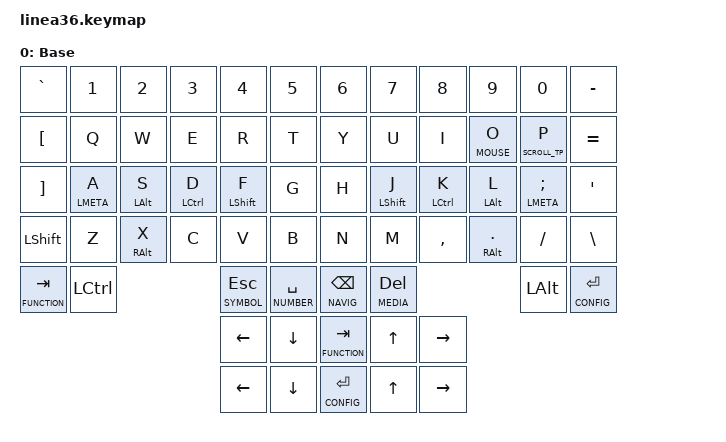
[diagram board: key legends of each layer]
/*
 * Copyright (c) 2020 The ZMK Contributors
 *
 * SPDX-License-Identifier: MIT
 */

#include <behaviors.dtsi>
#include <dt-bindings/zmk/keys.h>
#include <dt-bindings/zmk/bt.h>
#include <dt-bindings/zmk/ext_power.h>


/*
 * Defines to enable/disable features
 *
 * These defines allow us to conditionally enable and disable parts of the keymap config.
 *
 * For example, if we decide to build the firmware without the mouse features, we can
 * disable all the config options that rely on those forks and modules without having
 * to edit the entire keymap file manually every time.
 */

#define HAS_MOUSE_KEYS
#define HAS_MOUSE_TP

#define BASE      0
#define NAVIG     1
#define NUMBER    2
#define SYMBOL    3
#define MEDIA     4
#define FUNCTION  5
#define CONFIG    6
#define MOUSE_TP  7
#define SCROLL_TP 8
#define MOUSE     9


//#ifdef HAS_MOUSE_KEYS
  #include <dt-bindings/zmk/mouse.h>
  #include <behaviors/mouse_keys.dtsi>
//#endif  // HAS_MOUSE_KEYS

//#ifdef HAS_MOUSE_TP
  // We store the trackpoint settings in a separate file
  // to make organization a little easier.
  #include "include/mouse_tp.dtsi"
//#endif  // HAS_MOUSE_TP
                                    // key-position labels
#include "zmk-helpers/helper.h"


// Adjust layer keys based on enabled features.
//
// This prevents build errors when we build the firmware
// without the mouse keys PR or the TP module.
#ifdef HAS_MOUSE_KEYS
  #define U_THUMB_INNER &mo MOUSE_KEYS
#else
  #define U_THUMB_INNER &none
#endif  // HAS_MOUSE_KEYS

#ifdef HAS_MOUSE_TP
  #define U_TOG_TP_SET &tog MOUSE_TP_SET
#else
  #define U_TOG_TP_SET &none
#endif  // HAS_MOUSE_TP

// Disable line-wrap in your editor to see a "visualization" of the key layouts
/ {

  
  behaviors {
       /* left-hand HRMs */
        hml: homerow_mods_left {
            compatible = "zmk,behavior-hold-tap";
            flavor = "balanced";
            tapping-term-ms = <280>;
            quick-tap-ms = <175>;                // repeat on tap-into-hold
            require-prior-idle-ms = <150>;
            #binding-cells = <2>;
            bindings = <&kp>, <&kp>;
            //hold-trigger-key-positions = = <KEYS_R THUMBS>;
            hold-trigger-on-release;             // delay positional check until key-release
        };

        /* right-hand HRMs */
        hmr: homerow_mods_right {
            compatible = "zmk,behavior-hold-tap";
            flavor = "balanced";
            tapping-term-ms = <280>;
            quick-tap-ms = <175>;                // repeat on tap-into-hold
            require-prior-idle-ms = <150>;
            #binding-cells = <2>;
            bindings = <&kp>, <&kp>;
            //hold-trigger-key-positions = <KEYS_L THUMBS>;
            hold-trigger-on-release;             // delay positional check until key-release
        };
        tl: thumb_layer {
            compatible = "zmk,behavior-hold-tap";
             flavor = "balanced";
            tapping-term-ms = <280>;
            quick-tap-ms = <175>;                // repeat on tap-into-hold
            require-prior-idle-ms = <150>;
            #binding-cells = <2>;
            bindings = <&mo>, <&kp>;
            hold-trigger-on-release;             // delay positional check until key-release
        };       
  };
  
  keymap {
    compatible = "zmk,keymap";
   
    Base_layer {
      display-name = "Base";
      bindings = <
//|-----------------|-------------|-----------|------------|---------------|---------------|   |---------------|-------------|------------|--------------|---------------|------------|
   &kp GRAVE         &kp N1        &kp N2      &kp N3       &kp N4          &kp N5              &kp N6          &kp N7        &kp N8       &kp N9         &kp N0          &kp MINUS
   &kp LBKT          &kp Q         &kp W       &kp E        &kp R           &kp T               &kp Y           &kp U         &kp I        &tl MOUSE O    &tl SCROLL_TP P &kp EQUAL
   &kp RBKT          &hml LMETA A  &hml LALT S &hml LCTRL D &hml LSHIFT F   &kp G               &kp H           &hml LSHIFT J &hmr LCTRL K &hmr LALT L    &hmr LMETA SEMI &kp SQT
   &kp LSHFT         &kp Z         &hml RALT X &kp C        &kp V           &kp B               &kp N           &kp M         &kp COMMA    &hmr RALT DOT  &kp FSLH        &kp BSLH
   &tl FUNCTION TAB  &kp LCTRL                              &tl SYMBOL ESC  &tl NUMBER SPACE    &tl NAVIG BSPC  &tl MEDIA DEL                             &kp LALT        &tl CONFIG RET
                                             // DPAD  Left,     Down,     Middle,            Up,      Right
                                                      &kp LEFT  &kp DOWN  &tl FUNCTION TAB   &kp UP   &kp RIGHT
                                                      &kp LEFT  &kp DOWN  &tl CONFIG RET     &kp UP   &kp RIGHT
      >;
    };

/*
    Nav_layer {
      display-name = "Nav";
         bindings = <
//|------------|-------------|-----------|-----------|---------------|---------------|   |---------------|-------------|-----------|-------------|---------------|------------|
   &trans       &trans        &trans      &trans      &trans          &trans              &trans          &trans        &trans      &trans        &trans          &trans
   &trans       &kp HOME      &kp PG_UP   &kp PG_DN   &kp END         &trans              &trans          &trans        &trans      &trans        &trans          &trans
   &trans       &kp LEFT      &kp DOWN    &kp UP      &kp RIGHT       &caps_word          &trans          &kp LSHIFT    &kp LCTRL   &kp LALT      &kp LMETA       &trans
   &trans       &trans        &trans      &trans      &trans          &trans              &trans          &trans        &trans      &kp RALT      &trans          &trans
   &trans       &trans                                &trans          &trans              &trans          &trans                                  &trans          &trans 
                                        // DPAD Left,      Down,   Middle,     Up,     Right
                                                &trans     &trans  &trans      &trans  &trans  
                                                &trans     &trans  &trans      &trans  &trans 
      >;
    };

    Num_layer {
      display-name = "Number";
        bindings = <
//|------------|-------------|-----------|-----------|---------------|---------------|   |---------------|-------------|-------------|-------------|---------------|------------|
   &kp F12      &kp F1        &kp F2      &kp F3      &kp F4          &kp F5              &kp F6          &kp F7        &kp F8        &kp F9        &kp F10         &kp F11         
   &trans       &trans        &trans      &trans      &trans          &trans              &kp GRAVE       &kp NUMBER_7  &kp NUMBER_8  &kp NUMBER_9  &kp EQUAL       &trans
   &trans       &kp LMETA     &kp LALT    &kp LCTRL   &kp LSHIFT      &trans              &kp LBKT        &kp NUMBER_4  &kp NUMBER_5  &kp NUMBER_6  &kp SQT         &trans
   &trans       &trans        &kp RALT    &trans      &trans          &trans              &kp RBKT        &kp NUMBER_1  &kp NUMBER_2  &kp NUMBER_3  &kp BSLH        &trans
   &trans       &trans                                &trans          &trans              &kp NUMBER_0    &kp MINUS                                 &trans          &trans 
                                        // DPAD Left,      Down,   Middle,     Up,     Right
                                                &trans     &trans  &trans      &trans  &trans  
                                                &trans     &trans  &trans      &trans  &trans 
      >;
    };

   
    Symb_layer {
      display-name = "Symbol";
          bindings = <
//|------------|-------------|-----------|-----------|---------------|---------------|   |---------------|-------------|-----------|-------------|---------------|------------|
   &kp F12      &kp F1        &kp F2      &kp F3      &kp F4          &kp F5              &kp F6          &kp F7        &kp F8        &kp F9        &kp F10         &kp F11
   &trans       &trans        &trans      &trans      &trans          &trans              &kp TILDE       &kp AMPERSAND &kp STAR      &kp LPAR      &kp PLUS        &trans
   &trans       &kp LMETA     &kp LALT    &kp LCTRL   &kp LSHIFT      &trans              &kp LBRC        &kp DOLLAR    &kp PERCENT   &kp CARET     &kp DQT         &trans
   &trans       &trans        &kp RALT    &trans      &trans          &trans              &kp RBRC        &kp EXCL      &kp AT        &kp HASH      &kp PIPE        &trans
   &trans       &trans                                &trans          &trans              &kp RPAR        &kp UNDER                                 &trans          &trans 
                                        // DPAD Left,      Down,   Middle,     Up,     Right
                                                &trans     &trans  &trans      &trans  &trans  
                                                &trans     &trans  &trans      &trans  &trans
      >;
    };

  Media_layer {
      display-name = "Media";
         bindings = <
//|--------------|-------------|-------------|-------------|---------------|---------------|   |---------------|-------------|-----------|-------------|---------------|------------|
   &studio_unlock &trans        &trans        &trans        &trans          &trans              &trans          &trans        &trans      &trans        &trans          &trans
   &trans         &kp C_BRI_DEC &kp C_VOL_DN  &kp C_VOL_UP  &kp C_BRI_INC   &trans              &trans          &trans        &trans      &trans        &trans          &trans
   &trans         &trans        &trans        &trans        &trans          &trans              &trans          &trans        &trans      &trans        &trans          &trans
   &trans         &trans        &trans        &trans        &trans          &trans              &trans          &trans        &trans      &trans        &trans          &trans
   &trans         &trans                                    &trans          &trans              &trans          &trans                                  &trans          &trans 
                                        // DPAD Left,      Down,   Middle,     Up,     Right
                                                &trans     &trans  &trans      &trans  &trans  
                                                &trans     &trans  &trans      &trans  &trans 
      >;
    };



    Func_layer {
      display-name = "Function";
      bindings = <
//|------------|-------------|-----------|-----------|---------------|---------------|   |---------------|-------------|-----------|-------------|---------------|------------|
   &trans       &trans        &trans      &trans      &trans          &trans              &trans          &trans        &trans      &trans        &trans          &trans
   &trans       &trans        &trans      &trans      &trans          &trans              &trans          &kp F7        &kp F8      &kp F9        &kp F10         &trans
   &trans       &trans        &trans      &trans      &trans          &trans              &trans          &kp F4        &kp F5      &kp F6        &kp F11         &trans
   &trans       &trans        &trans      &trans      &trans          &trans              &trans          &kp F1        &kp F2      &kp F3        &kp F12         &trans
   &trans       &trans                                &trans          &trans              &trans          &trans                                  &trans          &trans 
                                        // DPAD Left,      Down,   Middle,     Up,     Right
                                                &trans     &trans  &trans      &trans  &trans 
                                                &trans     &trans  &trans      &trans  &trans
      >;
    };

    Config_layer {
      display-name = "Configuration";
      bindings = <
//|---------------|-------------|-----------|-----------|---------------|---------------|   |---------------|-------------|-----------|-------------|---------------|------------|
   &studio_unlock  &trans        &trans      &trans      &trans          &trans              &trans          &trans        &trans      &trans        &trans          &trans
   &trans          &trans        &trans      &trans      &trans          &trans              &trans          &trans        &trans      &trans        &trans          &trans
   &trans          &trans        &trans      &trans      &trans          &trans              &trans          &trans        &trans      &trans        &trans          &trans
   &trans          &trans        &trans      &trans      &trans          &trans              &trans          &trans        &trans      &trans        &trans          &trans
   &trans          &trans                                &trans          &trans              &trans          &trans                                  &trans          &trans 
                                        // DPAD Left,      Down,   Middle,     Up,     Right
                                                &trans     &trans  &trans      &trans  &trans  
                                                &trans     &trans  &trans      &trans  &trans 
      >;
    };

   
     Mouse_layer {
      display-name = "Mouse";
      bindings = <
//|------------|-------------|-----------|-----------|---------------|---------------|   |---------------|-------------|-----------|-------------|---------------|------------|
   &trans       &trans        &trans      &trans      &trans          &trans              &trans          &trans        &trans      &trans        &trans          &trans
   &trans       &trans        &trans      &trans      &trans          &trans              &trans          &trans        &trans      &mo MOUSE     &mo SCROLL_TP   &trans
   &trans       &trans        &trans      &trans      &trans          &trans              &trans          &trans        &trans      &trans        &trans          &trans
   &trans       &trans        &trans      &trans      &trans          &trans              &trans          &trans        &trans      &trans        &trans          &trans
   &mkp MCLK    &trans                                &trans          &trans              &mkp LCLK       &mkp RCLK                               &trans          &mkp MCLK
                                        // DPAD Left,      Down,   Middle,     Up,     Right
                                                &none      &none   &mkp MCLK   &trans  &none 
                                                &none      &none   &mkp MCLK   &trans  &none 
      >;
    };



     Scroll_layer {
      display-name = "Scroll";
      bindings = <
//|------------|-------------|-----------|-----------|---------------|---------------|   |---------------|-------------|-----------|-------------|---------------|------------|
   &trans       &trans        &trans      &trans      &trans          &trans              &trans          &trans        &trans      &trans        &trans          &trans
   &trans       &trans        &trans      &trans      &trans          &trans              &trans          &trans        &trans      &mo MOUSE     &none           &trans
   &trans       &trans        &trans      &trans      &trans          &trans              &trans          &trans        &trans      &trans        &trans          &trans
   &trans       &trans        &trans      &trans      &trans          &trans              &trans          &trans        &trans      &trans        &trans          &trans
   &mkp MCLK    &trans                                &trans          &trans              &mkp LCLK       &mkp RCLK                               &trans          &mkp MCLK 
                                        // DPAD Left,      Down,   Middle,     Up,     Right
                                                &trans     &trans  &mkp MCLK   &trans  &trans  
                                                &trans     &trans  &mkp MCLK   &trans  &trans 
      >;
    };


      Mouse_layer1 {
      display-name = "Mouse";
      bindings = <
//|------------|-------------|-----------|-----------|---------------|---------------|   |---------------|-------------|-----------|-------------|---------------|------------|
   &trans       &trans        &trans      &trans      &trans          &trans              &trans          &trans        &trans      &trans        &trans          &trans
   &trans       &trans        &trans      &trans      &trans          &trans              &trans          &trans        &trans      &trans        &mo SCROLL_TP   &trans
   &trans       &trans        &trans      &trans      &trans          &trans              &trans          &trans        &trans      &trans        &trans          &trans
   &trans       &trans        &trans      &trans      &trans          &trans              &trans          &trans        &trans      &trans        &trans          &trans
   &mkp MCLK    &trans                                &trans          &trans              &mkp LCLK       &mkp RCLK                               &trans          &mkp MCLK
                                        // DPAD Left,      Down,   Middle,     Up,     Right
                                                &none      &none   &mkp MCLK   &trans  &none 
                                                &none      &none   &mkp MCLK   &trans  &none 
      >;
    };


#ifdef HAS_MOUSE_KEYS

#endif
#ifdef HAS_MOUSE_TP
//         // You can find the defines for the actual key press behaviors in `include/mouse_tp.dtsi`.
//         MouseSettings_layer {
//           display-name = "TP Set";
//           bindings = <
//     // ╭────────────────────────┬────────────────────────┬────────────────────────┬────────────────────────┬────────────────────────┬────────────────────────╮    ╭────────────────────────┬────────────────────────┬────────────────────────┬────────────────────────┬────────────────────────┬────────────────────────╮
//          U_TOG_TP_SET             U_TOG_TP_SET             &none                    U_MSS_TP_S_D             U_MSS_TP_S_I             U_MSS_TP_PT_I                 U_MSS_TP_PT_I            U_MSS_TP_S_D             U_MSS_TP_S_I             &none                    U_TOG_TP_SET              U_TOG_TP_SET
//     // ├────────────────────────┼────────────────────────┼────────────────────────┼────────────────────────┼────────────────────────┼────────────────────────┤    ├────────────────────────┼────────────────────────┼────────────────────────┼────────────────────────┼────────────────────────┼────────────────────────┤
//          U_MSS_RESET              U_MSS_RESET              &none                    U_MSS_TP_NI_D            U_MSS_TP_NI_I            U_MSS_TP_PT_D                 U_MSS_TP_PT_D            U_MSS_TP_NI_D            U_MSS_TP_NI_I            &none                    U_MSS_RESET               U_MSS_RESET
//     // ├────────────────────────┼────────────────────────┼────────────────────────┼────────────────────────┼────────────────────────┼────────────────────────┤    ├────────────────────────┼────────────────────────┼────────────────────────┼────────────────────────┼────────────────────────┼────────────────────────┤
//          U_MSS_LOG                U_MSS_LOG                &none                    U_MSS_TP_V6_D            U_MSS_TP_V6_I            &none                         &none                    U_MSS_TP_V6_D            U_MSS_TP_V6_I            &none                    U_MSS_LOG                 U_MSS_LOG
//     // ╰────────────────────────┴────────────────────────┴────────────────────────┴────────────────────────┼────────────────────────┼────────────────────────┤    ├────────────────────────┼────────────────────────┼────────────────────────┼────────────────────────┴────────────────────────┼────────────────────────╯
//                                                                                     &trans                   &mkp LCLK                &mkp RCLK                     &none                    &mkp LCLK                &mkp RCLK
//     //                                                                            ╰────────────────────────┴────────────────────────┴────────────────────────╯    ╰────────────────────────┴────────────────────────┴────────────────────────╯
//           >;
//         };


#endif

*/

  };
};









































